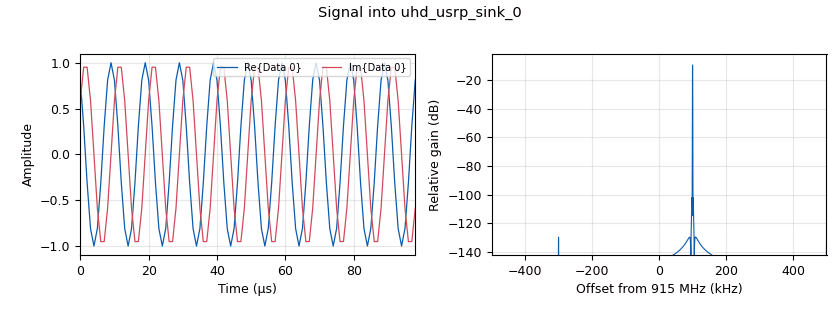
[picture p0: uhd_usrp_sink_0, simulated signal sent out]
options:
  parameters:
    author: ebaum
    generate_options: qt_gui
    id: top_block
    output_language: python
    title: Not titled yet
  states: {}

blocks:
- name: center_freq
  id: variable
  parameters:
    value: 915e6
  states: {}
- name: rx_gain
  id: variable_qtgui_range
  parameters:
    gui_hint: 2,2,1,1
    label: RX gain (dB)
    orient: Qt.Horizontal
    start: '0'
    step: '1'
    stop: '50'
    value: '25'
  states: {}
- name: samp_rate
  id: variable
  parameters:
    value: 1e6
  states: {}
- name: signal_freq
  id: variable
  parameters:
    value: signal_freq_khz * 1e3
  states: {}
- name: signal_freq_khz
  id: variable_qtgui_entry
  parameters:
    gui_hint: 1,1,1,1
    label: Signal Freq (kHz)
    type: int
    value: '100'
  states: {}
- name: tx_gain
  id: variable_qtgui_range
  parameters:
    gui_hint: 2,1,1,1
    label: TX gain (dB)
    orient: Qt.Horizontal
    start: '0'
    step: '1'
    stop: '50'
    value: '0'
  states: {}
- name: analog_sig_source_x_0
  id: analog_sig_source_x
  parameters:
    amp: '1'
    freq: signal_freq
    offset: '0'
    phase: '0'
    samp_rate: samp_rate
    type: complex
    waveform: analog.GR_COS_WAVE
  states: {}
- name: qtgui_freq_sink_x_0
  id: qtgui_freq_sink_x
  parameters:
    bw: samp_rate
    ctrlpanel: 'True'
    fc: center_freq
    fftsize: '1024'
    type: complex
    wintype: firdes.WIN_BLACKMAN_hARRIS
  states: {}
- name: qtgui_time_sink_x_0
  id: qtgui_time_sink_x
  parameters:
    ctrlpanel: 'True'
    size: '256'
    srate: samp_rate
    type: complex
  states: {state: disabled}
- name: uhd_usrp_sink_0
  id: uhd_usrp_sink
  parameters:
    ant0: TX/RX
    center_freq0: center_freq
    dev_args: '""'
    gain0: tx_gain
    len_tag_name: ''
    norm_gain0: 'False'
    samp_rate: samp_rate
    sync: sync
    type: fc32
  states: {}
- name: uhd_usrp_source_0
  id: uhd_usrp_source
  parameters:
    ant0: RX2
    center_freq0: center_freq
    dc_offs_enb0: '""'
    dev_args: '""'
    gain0: rx_gain
    iq_imbal_enb0: '""'
    norm_gain0: 'False'
    samp_rate: samp_rate
    sync: sync
    type: fc32
  states: {}

connections:
- [analog_sig_source_x_0, '0', uhd_usrp_sink_0, '0']
- [uhd_usrp_source_0, '0', qtgui_freq_sink_x_0, '0']
- [uhd_usrp_source_0, '0', qtgui_time_sink_x_0, '0']

metadata:
  file_format: 1
